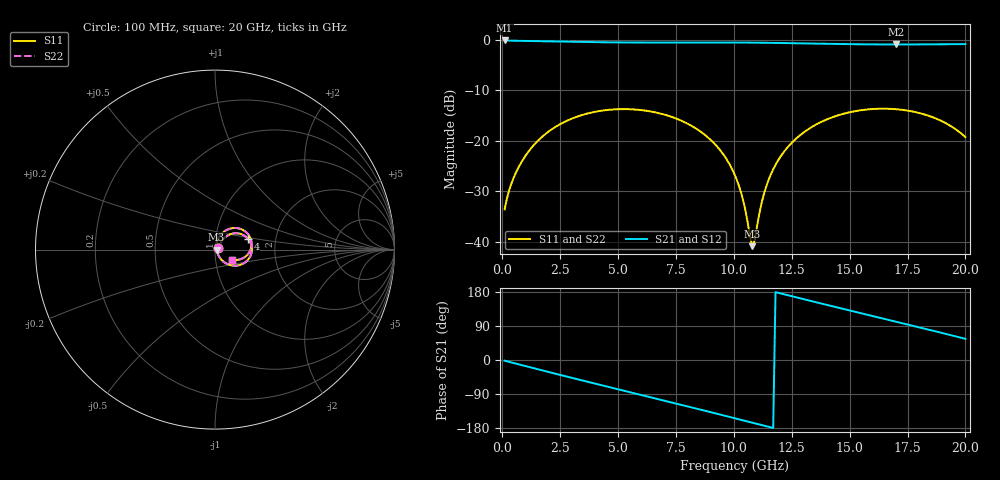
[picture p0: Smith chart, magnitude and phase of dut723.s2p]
! Touchstone file exported from HFSS 2026.1.0
!  File:  C:/ffzhzh/LocalFiles/Ansys_Project_Files/temp_train_TSV_RDL_723_1783201861_22436.aedt
!  Generated:  06:00:37 AM Jul  5, 2026
!  Design:  TSV_RDL
!  Project:  temp_train_TSV_RDL_723_1783201861_22436
! Variables:
!  h_bsmrdl = 3.62um
!  h_ox = 20um
!  h_rdl = 5um
!  h_sub = 64.97um
!  h_tmrdl = 4.18um
!  h_tsv = 64.97um
!  h_via = 3um
!  l_bsmrdl = 292.56um
!  l_sub = 5334.91um
!  l_tmrdl = 975.27um
!  m_sub = 200um
!  pitch = 34.19um
!  r_tsv = 8.76um
!  s_tmrdl = 10um
!  w_bsmrdl = 28.04um
!  w_sub = 500um
!  w_tmrdl = 24.01um
!  x_tsv_center1 = 987.275um
!  x_tsv_center2 = 1307.875um
!  x_tsv_center3 = 2307.155um
!  x_tsv_center4 = 2627.755um
!  x_tsv_center5 = 3627.035um
!  x_tsv_center6 = 3947.635um
# GHz S MA R 50.000000
! Terminal data exported
! Port[1] = TM_RDL1_1_T1
! Port[2] = TM_RDL5_1_T1
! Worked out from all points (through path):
!   200 points, 100 MHz to 20 GHz, reference 50 ohm
!   highest |S21| = -0.17 dB at 100 MHz (marker M1); lowest = -1.0 dB at 17 GHz (marker M2)
!   group delay of S21, straight-line fit = 42.1 ps
!   lowest |S11| = -40.8 dB at 10.8 GHz (marker M3), VSWR 1.02, Z = 50.9 + j0.0414 ohm
!   |S11| at or under -10 dB: start of sweep to end of sweep
!   |S22| runs from -40.9 to -13.6 dB; largest |S21 - S12| = 1.9e-14
!   S11 on the Smith chart (normalised r, x): 100 MHz: 1.04, +0.02; 4 GHz: 1.44, +0.18; 20 GHz: 1.20, -0.14
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0.1  0.02096 24.6  0.9812 -1.8  0.9812 -1.8  0.02096 24.6
! Gamma 0 0 0 0
! Port Impedance 50 0 50 0
0.5  0.04358 47.6  0.9748 -8.2  0.9748 -8.2  0.04358 47.6
1.3  0.08742 50.6  0.9683 -20.8  0.9683 -20.8  0.08742 50.6
2.3  0.1374 41.0  0.9593 -36.3  0.9593 -36.3  0.1374 41.0
3.5  0.1814 25.4  0.9482 -54.7  0.9482 -54.7  0.1813 25.4
4  0.1933 18.5  0.9443 -62.2  0.9443 -62.2  0.1933 18.5
5.4  0.2056 -1.0  0.937 -83.2  0.937 -83.2  0.2055 -1.0
6.8  0.1867 -20.7  0.9356 -104.2  0.9356 -104.2  0.1866 -20.7
8.8  0.112 -47.9  0.9378 -134.6  0.9378 -134.6  0.1119 -47.9
9.5  0.07587 -56.0  0.9377 -145.4  0.9377 -145.4  0.07581 -56.0
10.1  0.04263 -59.5  0.9366 -154.7  0.9366 -154.7  0.04257 -59.6
10.4  0.02591 -55.8  0.9357 -159.3  0.9357 -159.3  0.02585 -55.9
10.8  0.00909 2.6  0.934 -165.5  0.934 -165.5  0.009029 2.8
11.3  0.02985 72.8  0.9313 -173.2  0.9313 -173.2  0.02987 72.9
11.7  0.05225 74.5  0.9286 -179.4  0.9286 -179.4  0.05228 74.6
12.4  0.09032 68.5  0.9231 169.8  0.9231 169.8  0.09035 68.5
13.4  0.1384 56.0  0.9143 154.7  0.9143 154.7  0.1384 56.0
15.1  0.1936 33.0  0.9011 129.2  0.9011 129.2  0.1936 33.0
16.7  0.2073 11.2  0.8955 105.6  0.8955 105.6  0.2072 11.2
17  0.2053 7.1  0.8954 101.2  0.8954 101.2  0.2053 7.2
18.5  0.1739 -13.0  0.8982 78.8  0.8982 78.8  0.1739 -13.0
20  0.1089 -31.3  0.9029 55.9  0.9029 55.9  0.1089 -31.3
